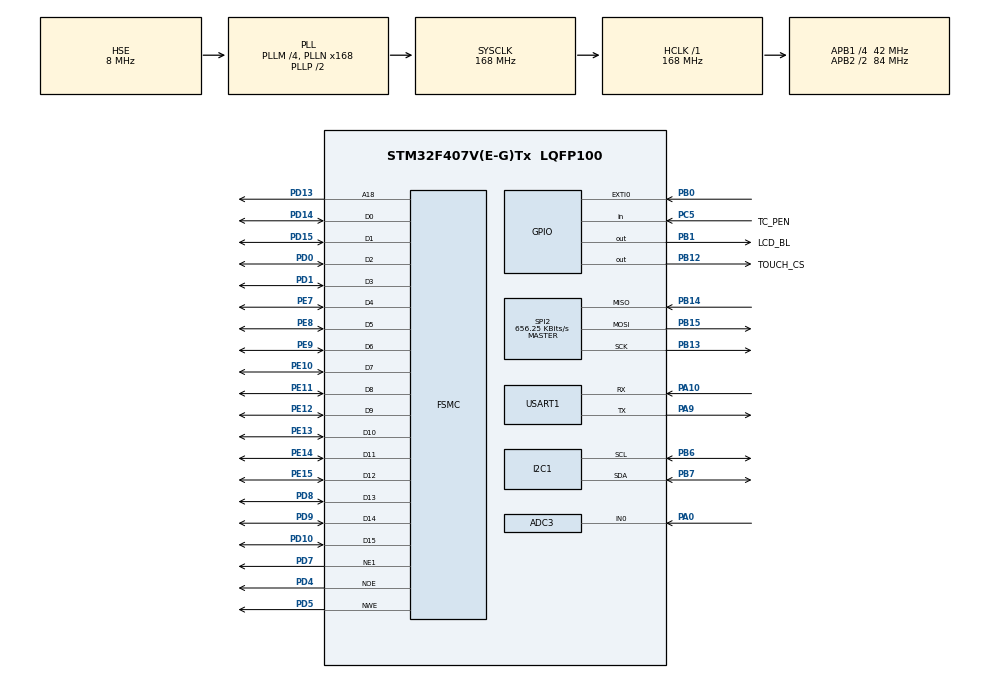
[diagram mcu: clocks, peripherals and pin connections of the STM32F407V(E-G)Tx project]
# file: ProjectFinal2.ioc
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ADC3.Channel-3\#ChannelRegularConversion=ADC_CHANNEL_0
ADC3.ContinuousConvMode=ENABLE
ADC3.NbrOfConversionFlag=1
ADC3.Rank-3\#ChannelRegularConversion=1
ADC3.SamplingTime-3\#ChannelRegularConversion=ADC_SAMPLETIME_3CYCLES
FSMC.AddressSetupTime1=1
FSMC.BusTurnAroundDuration1=0
FSMC.DataSetupTime1=5
I2C1.GeneralCallMode=I2C_GENERALCALL_DISABLE
I2C1.I2C_Mode=I2C_Fast
Mcu.Family=STM32F4
Mcu.Name=STM32F407V(E-G)Tx
Mcu.Package=LQFP100
NVIC.EXTI0_IRQn=true\:0\:0\:false\:false\:true\:true\:true\:true
NVIC.PriorityGroup=NVIC_PRIORITYGROUP_4
PA0-WKUP.Signal=ADCx_IN0
PA10.Mode=Asynchronous
PA10.Signal=USART1_RX
PA13.Mode=Serial_Wire
PA13.Signal=SYS_JTMS-SWDIO
PA14.Mode=Serial_Wire
PA14.Signal=SYS_JTCK-SWCLK
PA9.Mode=Asynchronous
PA9.Signal=USART1_TX
PB0.GPIO_ModeDefaultEXTI=GPIO_MODE_IT_FALLING
PB0.GPIO_PuPd=GPIO_PULLUP
PB0.Signal=GPXTI0
PB1.GPIO_Label=LCD_BL
PB1.Signal=GPIO_Output
PB12.GPIO_Label=TOUCH_CS
PB12.Signal=GPIO_Output
PB13.Mode=Full_Duplex_Master
PB13.Signal=SPI2_SCK
PB14.Mode=Full_Duplex_Master
PB14.Signal=SPI2_MISO
PB15.Mode=Full_Duplex_Master
PB15.Signal=SPI2_MOSI
PB6.Mode=I2C
PB6.Signal=I2C1_SCL
PB7.Mode=I2C
PB7.Signal=I2C1_SDA
PC5.GPIO_Label=TC_PEN
PC5.Signal=GPIO_Input
PD0.Mode=16b-d1
PD0.Signal=FSMC_D2
PD1.Mode=16b-d1
PD1.Signal=FSMC_D3
PD10.Mode=16b-d1
PD10.Signal=FSMC_D15
PD13.Mode=A18_1
PD13.Signal=FSMC_A18
PD14.Mode=16b-d1
PD14.Signal=FSMC_D0
PD15.Mode=16b-d1
PD15.Signal=FSMC_D1
PD4.Mode=Lcd1
PD4.Signal=FSMC_NOE
PD5.Mode=Lcd1
PD5.Signal=FSMC_NWE
PD7.Mode=NorPsramChipSelect1_1
PD7.Signal=FSMC_NE1
PD8.Mode=16b-d1
PD8.Signal=FSMC_D13
PD9.Mode=16b-d1
PD9.Signal=FSMC_D14
PE10.Mode=16b-d1
PE10.Signal=FSMC_D7
PE11.Mode=16b-d1
PE11.Signal=FSMC_D8
PE12.Mode=16b-d1
PE12.Signal=FSMC_D9
PE13.Mode=16b-d1
PE13.Signal=FSMC_D10
PE14.Mode=16b-d1
PE14.Signal=FSMC_D11
PE15.Mode=16b-d1
PE15.Signal=FSMC_D12
PE7.Mode=16b-d1
PE7.Signal=FSMC_D4
PE8.Mode=16b-d1
PE8.Signal=FSMC_D5
PE9.Mode=16b-d1
PE9.Signal=FSMC_D6
PH0-OSC_IN.Mode=HSE-External-Oscillator
PH0-OSC_IN.Signal=RCC_OSC_IN
PH1-OSC_OUT.Mode=HSE-External-Oscillator
PH1-OSC_OUT.Signal=RCC_OSC_OUT
ProjectManager.HeapSize=0x200
ProjectManager.StackSize=0x400
ProjectManager.TargetToolchain=STM32CubeIDE
RCC.48MHZClocksFreq_Value=84000000
RCC.AHBFreq_Value=168000000
RCC.APB1CLKDivider=RCC_HCLK_DIV4
RCC.APB1Freq_Value=42000000
RCC.APB1TimFreq_Value=84000000
RCC.APB2CLKDivider=RCC_HCLK_DIV2
RCC.APB2Freq_Value=84000000
RCC.APB2TimFreq_Value=168000000
RCC.CortexFreq_Value=168000000
RCC.HCLKFreq_Value=168000000
RCC.HSE_VALUE=8000000
RCC.HSI_VALUE=16000000
RCC.LSE_VALUE=32768
RCC.PLLM=4
RCC.PLLN=168
RCC.PLLSourceVirtual=RCC_PLLSOURCE_HSE
RCC.SYSCLKFreq_VALUE=168000000
RCC.SYSCLKSource=RCC_SYSCLKSOURCE_PLLCLK
RCC.VCOOutputFreq_Value=336000000
SH.ADCx_IN0.0=ADC3_IN0,IN0
SPI2.BaudRatePrescaler=SPI_BAUDRATEPRESCALER_64
SPI2.CalculateBaudRate=656.25 KBits/s
SPI2.Direction=SPI_DIRECTION_2LINES
SPI2.Mode=SPI_MODE_MASTER
SPI2.VirtualType=VM_MASTER
TIM2.Period=9999
TIM2.Prescaler=8499
USART1.VirtualMode=VM_ASYNC
VP_TIM2_VS_ClockSourceINT.Mode=Internal
board=custom

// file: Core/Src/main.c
/* USER CODE BEGIN Header */
/**
  ******************************************************************************
  * @file           : main.c
  * @brief          : Main program body
  ******************************************************************************
  * @attention
  *
  * Copyright (c) 2024 STMicroelectronics.
  * All rights reserved.
  *
  * This software is licensed under terms that can be found in the LICENSE file
  * in the root directory of this software component.
  * If no LICENSE file comes with this software, it is provided AS-IS.
  *
  ******************************************************************************
  */
/* USER CODE END Header */
#include "main.h"

/* USER CODE BEGIN Includes */
#include "stdio.h"
#include "ili9341.h"
#include "math.h"
#include "string.h"
#include "front_end.h"
#include "touch.h"
#include "cJSON.h"
#include "stdlib.h"
#include "stdbool.h"
#include "DHT.h"
#include "MAX30100_PulseOximeter.h"
#include "AD8232.h"
/* USER CODE END Includes */

/* USER CODE BEGIN PD */
#define min(a,b) (((a)<(b))?(a):(b))

#define UART_RX_BUFFER_SIZE 1024
#define UART_BUFFER_SIZE 2048
uint8_t uart_rx_buffer[UART_BUFFER_SIZE];
#define ECG_X_MAX 320  // chi�?u rộng màn hình LCD
#define ECG_Y_MAX 240  // chi�?u cao màn hình LCD
#define ECG_BASELINE 120  // đư�?ng trung tâm (ngang) để vẽ ECG
#define ECG_SCALE 0.05f    // hệ số scale giá trị ADC xuống pixel (tùy chỉnh nếu thấy lệch)

uint16_t ecg_x = 0;
uint16_t old_y = ECG_BASELINE;

/* USER CODE END PD */

ADC_HandleTypeDef hadc3;

I2C_HandleTypeDef hi2c1;

SPI_HandleTypeDef hspi2;

TIM_HandleTypeDef htim2;

UART_HandleTypeDef huart1;

SRAM_HandleTypeDef hsram1;

void SystemClock_Config(void);
static void MX_GPIO_Init(void);
static void MX_FSMC_Init(void);
static void MX_USART1_UART_Init(void);
static void MX_SPI2_Init(void);
static void MX_TIM2_Init(void);
static void MX_I2C1_Init(void);
static void MX_ADC3_Init(void);
/* USER CODE BEGIN PFP */
/* Private function prototypes -----------------------------------------------*/
void UART_ReceiveString(UART_HandleTypeDef *huart, char *buffer, int buffer_size);
void Send_AT_Commands(UART_HandleTypeDef *huart);
void Send_AT_Command(UART_HandleTypeDef *huart, const char *command, uint32_t timeout );

//
void RunProgram();
void Max30100 ();
void Max30100_Init();
void AD8232_ReadData();
void ECG_DrawWave(uint16_t value);
void onBeatDetected(void) {
    // Xử lý khi phát hiện nhịp tim (bật LED, gửi UART, ...)

}
/* USER CODE END PFP */

/* USER CODE BEGIN 0 */
int count = 0;
float temperature = 1;
float humidity = 1;
volatile bool readDHT = false;
volatile bool Recall = false;
volatile bool Reload = false;
int *temp_max = {0};
int *temp_min = {0};
double *UV = {0};
int *wind_speed = {0};
int *day_code = {0};
char day_name[7][4];
char Date[7][6];
char current_time[6];
char current_date[11];
int current_temp;
int current_humi;
int current_code;
int current_cloud;
int isDay;
int AD8232_value = 0;
int choice = 1;
int choiceTmp = 1;
PulseOximeter pox;
uint32_t tsLastReport = 0;
//
int current = 1;
bool updated = true;
int16_t tx , ty;
char MAX30100_data[1024];
uint8_t heartRate;
uint8_t spo2;

int i = 0;

// AT Commands
uint8_t ATCommand1[UART_BUFFER_SIZE] = "GET /v1/forecast?latitude=10.7769&longitude=106.7009&current=temperature_2m,relative_humidity_2m,is_day,weather_code,cloud_cover&daily=weather_code,temperature_2m_max,temperature_2m_min,uv_index_max,wind_speed_10m_max&timezone=Asia%2FBangkok HTTP/1.1\r\nHost: api.open-meteo.com\r\nConnection: close\r\n\r\n";

uint8_t ATCommand2[UART_BUFFER_SIZE] = "GET /v1/forecast?latitude=21.0285&longitude=105.8542&current=temperature_2m,relative_humidity_2m,is_day,weather_code,cloud_cover&daily=weather_code,temperature_2m_max,temperature_2m_min,uv_index_max,wind_speed_10m_max&timezone=Asia%2FBangkok HTTP/1.1\r\nHost: api.open-meteo.com\r\nConnection: close\r\n\r\n";

uint8_t ATCommand3[UART_BUFFER_SIZE] = "GET /v1/forecast?latitude=20.8449&longitude=106.6881&current=temperature_2m,relative_humidity_2m,is_day,weather_code,cloud_cover&daily=weather_code,temperature_2m_max,temperature_2m_min,uv_index_max,wind_speed_10m_max&timezone=Asia%2FBangkok HTTP/1.1\r\nHost: api.open-meteo.com\r\nConnection: close\r\n\r\n";

uint8_t ATCommand4[UART_BUFFER_SIZE] = "GET /v1/forecast?latitude=10.0452&longitude=105.7469&current=temperature_2m,relative_humidity_2m,is_day,weather_code,cloud_cover&daily=weather_code,temperature_2m_max,temperature_2m_min,uv_index_max,wind_speed_10m_max&timezone=Asia%2FBangkok HTTP/1.1\r\nHost: api.open-meteo.com\r\nConnection: close\r\n\r\n";

uint8_t ATCommand5[UART_BUFFER_SIZE] = "GET /v1/forecast?latitude=16.0471&longitude=108.2068&current=temperature_2m,relative_humidity_2m,is_day,weather_code,cloud_cover&daily=weather_code,temperature_2m_max,temperature_2m_min,uv_index_max,wind_speed_10m_max&timezone=Asia%2FBangkok HTTP/1.1\r\nHost: api.open-meteo.com\r\nConnection: close\r\n\r\n";

/* USER CODE END 0 */

int main(void)
{

  /* MCU Configuration--------------------------------------------------------*/

  /* Reset of all peripherals, Initializes the Flash interface and the Systick. */
  HAL_Init();

  /* Configure the system clock */
  SystemClock_Config();

  /* Initialize all configured peripherals */
  MX_GPIO_Init();
  MX_FSMC_Init();
  MX_USART1_UART_Init();
  MX_SPI2_Init();
  MX_TIM2_Init();
  MX_I2C1_Init();
  MX_ADC3_Init();
  /* USER CODE BEGIN 2 */
  //-----------------------------
  // LCD init
  LCD_BL_ON();
  HAL_TIM_Base_Start_IT(&htim2);
  TouchCalibrate();

  lcdInit();
  int i = 2;

  lcdSetOrientation(i%4);
  lcdFillRGB(COLOR_BLACK);
  lcdSetTextColor(COLOR_YELLOW,COLOR_BLACK);
  lcdSetTextFont(&Font16);
  // Max30100 init
  Max30100_Init();

  // Connect wifi
//  Send_AT_Commands(&huart1);
//  processWeather(uart_rx_buffer);

  /* USER CODE END 2 */

  /* Infinite loop */
  /* USER CODE BEGIN WHILE */
  while (1)
  {
	  //RunProgram();
	  Max30100();
    /* USER CODE END WHILE */

  }
}

void SystemClock_Config(void)
{
  RCC_OscInitTypeDef RCC_OscInitStruct = {0};
  RCC_ClkInitTypeDef RCC_ClkInitStruct = {0};

  /** Configure the main internal regulator output voltage
  */
  __HAL_RCC_PWR_CLK_ENABLE();
  __HAL_PWR_VOLTAGESCALING_CONFIG(PWR_REGULATOR_VOLTAGE_SCALE1);

  /** Initializes the RCC Oscillators according to the specified parameters
  * in the RCC_OscInitTypeDef structure.
  */
  RCC_OscInitStruct.OscillatorType = RCC_OSCILLATORTYPE_HSE;
  RCC_OscInitStruct.HSEState = RCC_HSE_ON;
  RCC_OscInitStruct.PLL.PLLState = RCC_PLL_ON;
  RCC_OscInitStruct.PLL.PLLSource = RCC_PLLSOURCE_HSE;
  RCC_OscInitStruct.PLL.PLLM = 4;
  RCC_OscInitStruct.PLL.PLLN = 168;
  RCC_OscInitStruct.PLL.PLLP = RCC_PLLP_DIV2;
  RCC_OscInitStruct.PLL.PLLQ = 4;
  if (HAL_RCC_OscConfig(&RCC_OscInitStruct) != HAL_OK)
  {
    Error_Handler();
  }

  /** Initializes the CPU, AHB and APB buses clocks
  */
  RCC_ClkInitStruct.ClockType = RCC_CLOCKTYPE_HCLK|RCC_CLOCKTYPE_SYSCLK
                              |RCC_CLOCKTYPE_PCLK1|RCC_CLOCKTYPE_PCLK2;
  RCC_ClkInitStruct.SYSCLKSource = RCC_SYSCLKSOURCE_PLLCLK;
  RCC_ClkInitStruct.AHBCLKDivider = RCC_SYSCLK_DIV1;
  RCC_ClkInitStruct.APB1CLKDivider = RCC_HCLK_DIV4;
  RCC_ClkInitStruct.APB2CLKDivider = RCC_HCLK_DIV2;

  if (HAL_RCC_ClockConfig(&RCC_ClkInitStruct, FLASH_LATENCY_5) != HAL_OK)
  {
    Error_Handler();
  }
}

static void MX_ADC3_Init(void)
{

  ADC_ChannelConfTypeDef sConfig = {0};

  /** Configure the global features of the ADC (Clock, Resolution, Data Alignment and number of conversion)
  */
  hadc3.Instance = ADC3;
  hadc3.Init.ClockPrescaler = ADC_CLOCK_SYNC_PCLK_DIV4;
  hadc3.Init.Resolution = ADC_RESOLUTION_12B;
  hadc3.Init.ScanConvMode = DISABLE;
  hadc3.Init.ContinuousConvMode = ENABLE;
  hadc3.Init.DiscontinuousConvMode = DISABLE;
  hadc3.Init.ExternalTrigConvEdge = ADC_EXTERNALTRIGCONVEDGE_NONE;
  hadc3.Init.ExternalTrigConv = ADC_SOFTWARE_START;
  hadc3.Init.DataAlign = ADC_DATAALIGN_RIGHT;
  hadc3.Init.NbrOfConversion = 1;
  hadc3.Init.DMAContinuousRequests = DISABLE;
  hadc3.Init.EOCSelection = ADC_EOC_SINGLE_CONV;
  if (HAL_ADC_Init(&hadc3) != HAL_OK)
  {
    Error_Handler();
  }

  /** Configure for the selected ADC regular channel its corresponding rank in the sequencer and its sample time.
  */
  sConfig.Channel = ADC_CHANNEL_0;
  sConfig.Rank = 1;
  sConfig.SamplingTime = ADC_SAMPLETIME_3CYCLES;
  if (HAL_ADC_ConfigChannel(&hadc3, &sConfig) != HAL_OK)
  {
    Error_Handler();
  }

}

static void MX_I2C1_Init(void)
{

  hi2c1.Instance = I2C1;
  hi2c1.Init.ClockSpeed = 400000;
  hi2c1.Init.DutyCycle = I2C_DUTYCYCLE_2;
  hi2c1.Init.OwnAddress1 = 0;
  hi2c1.Init.AddressingMode = I2C_ADDRESSINGMODE_7BIT;
  hi2c1.Init.DualAddressMode = I2C_DUALADDRESS_DISABLE;
  hi2c1.Init.OwnAddress2 = 0;
  hi2c1.Init.GeneralCallMode = I2C_GENERALCALL_DISABLE;
  hi2c1.Init.NoStretchMode = I2C_NOSTRETCH_DISABLE;
  if (HAL_I2C_Init(&hi2c1) != HAL_OK)
  {
    Error_Handler();
  }

}

static void MX_SPI2_Init(void)
{

  /* SPI2 parameter configuration*/
  hspi2.Instance = SPI2;
  hspi2.Init.Mode = SPI_MODE_MASTER;
  hspi2.Init.Direction = SPI_DIRECTION_2LINES;
  hspi2.Init.DataSize = SPI_DATASIZE_8BIT;
  hspi2.Init.CLKPolarity = SPI_POLARITY_LOW;
  hspi2.Init.CLKPhase = SPI_PHASE_1EDGE;
  hspi2.Init.NSS = SPI_NSS_SOFT;
  hspi2.Init.BaudRatePrescaler = SPI_BAUDRATEPRESCALER_64;
  hspi2.Init.FirstBit = SPI_FIRSTBIT_MSB;
  hspi2.Init.TIMode = SPI_TIMODE_DISABLE;
  hspi2.Init.CRCCalculation = SPI_CRCCALCULATION_DISABLE;
  hspi2.Init.CRCPolynomial = 10;
  if (HAL_SPI_Init(&hspi2) != HAL_OK)
  {
    Error_Handler();
  }

}

static void MX_TIM2_Init(void)
{

  TIM_ClockConfigTypeDef sClockSourceConfig = {0};
  TIM_MasterConfigTypeDef sMasterConfig = {0};

  htim2.Instance = TIM2;
  htim2.Init.Prescaler = 8499;
  htim2.Init.CounterMode = TIM_COUNTERMODE_UP;
  htim2.Init.Period = 9999;
  htim2.Init.ClockDivision = TIM_CLOCKDIVISION_DIV1;
  htim2.Init.AutoReloadPreload = TIM_AUTORELOAD_PRELOAD_DISABLE;
  if (HAL_TIM_Base_Init(&htim2) != HAL_OK)
  {
    Error_Handler();
  }
  sClockSourceConfig.ClockSource = TIM_CLOCKSOURCE_INTERNAL;
  if (HAL_TIM_ConfigClockSource(&htim2, &sClockSourceConfig) != HAL_OK)
  {
    Error_Handler();
  }
  sMasterConfig.MasterOutputTrigger = TIM_TRGO_RESET;
  sMasterConfig.MasterSlaveMode = TIM_MASTERSLAVEMODE_DISABLE;
  if (HAL_TIMEx_MasterConfigSynchronization(&htim2, &sMasterConfig) != HAL_OK)
  {
    Error_Handler();
  }

}

static void MX_USART1_UART_Init(void)
{

  huart1.Instance = USART1;
  huart1.Init.BaudRate = 115200;
  huart1.Init.WordLength = UART_WORDLENGTH_8B;
  huart1.Init.StopBits = UART_STOPBITS_1;
  huart1.Init.Parity = UART_PARITY_NONE;
  huart1.Init.Mode = UART_MODE_TX_RX;
  huart1.Init.HwFlowCtl = UART_HWCONTROL_NONE;
  huart1.Init.OverSampling = UART_OVERSAMPLING_16;
  if (HAL_UART_Init(&huart1) != HAL_OK)
  {
    Error_Handler();
  }

}

static void MX_GPIO_Init(void)
{
  GPIO_InitTypeDef GPIO_InitStruct = {0};

  /* GPIO Ports Clock Enable */
  __HAL_RCC_GPIOH_CLK_ENABLE();
  __HAL_RCC_GPIOA_CLK_ENABLE();
  __HAL_RCC_GPIOC_CLK_ENABLE();
  __HAL_RCC_GPIOB_CLK_ENABLE();
  __HAL_RCC_GPIOE_CLK_ENABLE();
  __HAL_RCC_GPIOD_CLK_ENABLE();

  /*Configure GPIO pin Output Level */
  HAL_GPIO_WritePin(GPIOB, LCD_BL_Pin|TOUCH_CS_Pin, GPIO_PIN_RESET);

  /*Configure GPIO pin : TC_PEN_Pin */
  GPIO_InitStruct.Pin = TC_PEN_Pin;
  GPIO_InitStruct.Mode = GPIO_MODE_INPUT;
  GPIO_InitStruct.Pull = GPIO_NOPULL;
  HAL_GPIO_Init(TC_PEN_GPIO_Port, &GPIO_InitStruct);

  /*Configure GPIO pin : PB0 */
  GPIO_InitStruct.Pin = GPIO_PIN_0;
  GPIO_InitStruct.Mode = GPIO_MODE_IT_FALLING;
  GPIO_InitStruct.Pull = GPIO_PULLUP;
  HAL_GPIO_Init(GPIOB, &GPIO_InitStruct);

  /*Configure GPIO pins : LCD_BL_Pin TOUCH_CS_Pin */
  GPIO_InitStruct.Pin = LCD_BL_Pin|TOUCH_CS_Pin;
  GPIO_InitStruct.Mode = GPIO_MODE_OUTPUT_PP;
  GPIO_InitStruct.Pull = GPIO_NOPULL;
  GPIO_InitStruct.Speed = GPIO_SPEED_FREQ_LOW;
  HAL_GPIO_Init(GPIOB, &GPIO_InitStruct);

  /* EXTI interrupt init*/
  HAL_NVIC_SetPriority(EXTI0_IRQn, 0, 0);
  HAL_NVIC_EnableIRQ(EXTI0_IRQn);

}

/* FSMC initialization function */
static void MX_FSMC_Init(void)
{

  FSMC_NORSRAM_TimingTypeDef Timing = {0};

  /** Perform the SRAM1 memory initialization sequence
  */
  hsram1.Instance = FSMC_NORSRAM_DEVICE;
  hsram1.Extended = FSMC_NORSRAM_EXTENDED_DEVICE;
  /* hsram1.Init */
  hsram1.Init.NSBank = FSMC_NORSRAM_BANK1;
  hsram1.Init.DataAddressMux = FSMC_DATA_ADDRESS_MUX_DISABLE;
  hsram1.Init.MemoryType = FSMC_MEMORY_TYPE_SRAM;
  hsram1.Init.MemoryDataWidth = FSMC_NORSRAM_MEM_BUS_WIDTH_16;
  hsram1.Init.BurstAccessMode = FSMC_BURST_ACCESS_MODE_DISABLE;
  hsram1.Init.WaitSignalPolarity = FSMC_WAIT_SIGNAL_POLARITY_LOW;
  hsram1.Init.WrapMode = FSMC_WRAP_MODE_DISABLE;
  hsram1.Init.WaitSignalActive = FSMC_WAIT_TIMING_BEFORE_WS;
  hsram1.Init.WriteOperation = FSMC_WRITE_OPERATION_ENABLE;
  hsram1.Init.WaitSignal = FSMC_WAIT_SIGNAL_DISABLE;
  hsram1.Init.ExtendedMode = FSMC_EXTENDED_MODE_DISABLE;
  hsram1.Init.AsynchronousWait = FSMC_ASYNCHRONOUS_WAIT_DISABLE;
  hsram1.Init.WriteBurst = FSMC_WRITE_BURST_DISABLE;
  hsram1.Init.PageSize = FSMC_PAGE_SIZE_NONE;
  /* Timing */
  Timing.AddressSetupTime = 1;
  Timing.AddressHoldTime = 15;
  Timing.DataSetupTime = 5;
  Timing.BusTurnAroundDuration = 0;
  Timing.CLKDivision = 16;
  Timing.DataLatency = 17;
  Timing.AccessMode = FSMC_ACCESS_MODE_A;
  /* ExtTiming */

  if (HAL_SRAM_Init(&hsram1, &Timing, NULL) != HAL_OK)
  {
    Error_Handler( );
  }

}

/* USER CODE BEGIN 4 */
// Hàm callback khi ngắt xảy ra
void HAL_TIM_PeriodElapsedCallback(TIM_HandleTypeDef *htim)
{
    if (htim->Instance == TIM2)
    {
    	count++;
    	if (count % 5 == 0){
        	readDHT = true; // �?ặt c�? để báo hiệu cần đ�?c dữ liệu
		}
    	if (count == 300){
    		//call API
    		Reload = true;
    		count = 0;
    	}
    }
}
void Send_AT_Command(UART_HandleTypeDef *huart, const char *command, uint32_t timeout) {
    // Gửi lệnh qua UART

    HAL_UART_Transmit(huart, (uint8_t *)command, strlen(command), HAL_MAX_DELAY);

//    memset(uart_rx_buffer, 0, UART_BUFFER_SIZE); // Xóa buffer
//    HAL_UART_Receive(huart, uart_rx_buffer, UART_BUFFER_SIZE, timeout);

    lcdSetCursor(0,220);
    lcdPrintf("ESP Send: %s           ", command);
}

void Send_AT_Commands(UART_HandleTypeDef *huart) {
	sprintf(MAX30100_data, "HR=%d;SPO2=%d;AD8232=%d\n", heartRate,spo2,AD8232_value);
	Send_AT_Command(huart, MAX30100_data , 10000);
}

void HAL_UART_RxCpltCallback(UART_HandleTypeDef *huart) {
    if (huart->Instance == USART1) { // Kiểm tra UART đúng
        // Xử lý dữ liệu nhận được ở đây
        HAL_UART_Receive_IT(huart, uart_rx_buffer, UART_BUFFER_SIZE);
    }
}
void Max30100_Init (){
	// Init
	PulseOximeter_Init(&pox);
	PulseOximeter_SetOnBeatDetectedCallback(&pox, onBeatDetected);
	if (!PulseOximeter_Begin(&pox, PULSEOXIMETER_DEBUGGINGMODE_NONE)) {
	  lcdSetCursor(0, 0);
	  lcdPrintf("Initializing!!");
	  while (1);
	} else {
	  lcdSetCursor(0, 0);
	  lcdPrintf("Init successfull");
	}
	// Check
	uint8_t spo2cfg = MAX30100_ReadRegister(MAX30100_REG_SPO2_CONFIGURATION);
	spo2cfg |= (1 << 6);
	MAX30100_WriteRegister(MAX30100_REG_SPO2_CONFIGURATION, spo2cfg);
	spo2cfg = MAX30100_ReadRegister(MAX30100_REG_SPO2_CONFIGURATION);
	sprintf(MAX30100_data, "SPO2CFG:0x%02X", spo2cfg);
	lcdSetCursor(0, 15);
	lcdPrintf(MAX30100_data);
	//
	MAX30100_WriteRegister(MAX30100_REG_INTERRUPT_STATUS, 0x00);
	uint8_t mode = MAX30100_ReadRegister(MAX30100_REG_MODE_CONFIGURATION);
	sprintf(MAX30100_data, "MODE:0x%02X", mode);
	lcdSetCursor(0, 30);
	lcdPrintf(MAX30100_data);
	//
	uint8_t status = MAX30100_ReadRegister(MAX30100_REG_INTERRUPT_STATUS);
	sprintf(MAX30100_data, "INT:0x%02X", status);
	lcdSetCursor(0, 45);
	lcdPrintf(MAX30100_data);
	//
	uint8_t part_id = MAX30100_GetPartId(&pox.hrm);
	sprintf(MAX30100_data, "PartID: 0x%02X", part_id);
	lcdSetCursor(0, 60);
	lcdPrintf(MAX30100_data);
	//
	HAL_Delay(3000);
	tsLastReport = HAL_GetTick();
	lcdFillRGB(COLOR_BLACK);
}
void Max30100 (){
    PulseOximeter_Update(&pox);
    heartRate = PulseOximeter_GetHeartRate(&pox);
    spo2 = PulseOximeter_GetSpO2(&pox);

    // Hiển thị LCD
    sprintf(MAX30100_data, "HR: %d bpm", heartRate);
    lcdSetCursor(0, 15);
    lcdPrintf(MAX30100_data);
    sprintf(MAX30100_data, "SpO2: %d", spo2);
    lcdSetCursor(0, 30);
    lcdPrintf(MAX30100_data);
    sprintf(MAX30100_data, "AD8232: %d", AD8232_value);
    lcdSetCursor(0, 45);
    lcdPrintf(MAX30100_data);

    // Send Data định kỳ
    if (HAL_GetTick() - tsLastReport > 5000) {
        Send_AT_Commands(&huart1);
        tsLastReport = HAL_GetTick();
    }

    HAL_Delay(10);
}
void AD8232_ReadData()
{
    // Đọc trạng thái dây điện cực (LO+ và LO-)
    GPIO_PinState lo_plus = HAL_GPIO_ReadPin(GPIOA, GPIO_PIN_1);
    GPIO_PinState lo_minus = HAL_GPIO_ReadPin(GPIOA, GPIO_PIN_2);

    lcdSetTextColor(COLOR_YELLOW, COLOR_BLACK);
    lcdSetTextFont(&Font16);
    lcdSetCursor(5, 20);

    // Kiểm tra xem có bị rơi điện cực không
    if (lo_plus == GPIO_PIN_SET || lo_minus == GPIO_PIN_SET)
    {
    	lcdSetCursor(5, 60);
        lcdPrintf("ECG Error!!!");
    }
    else
    {
    	lcdSetCursor(5, 60);
        AD8232_value = AD8232_Read();
        lcdPrintf("AD8232 : %d       ", AD8232_value);
    }
}
/* USER CODE END 4 */

void Error_Handler(void)
{
  __disable_irq();
  while (1)
  {
  }
}
